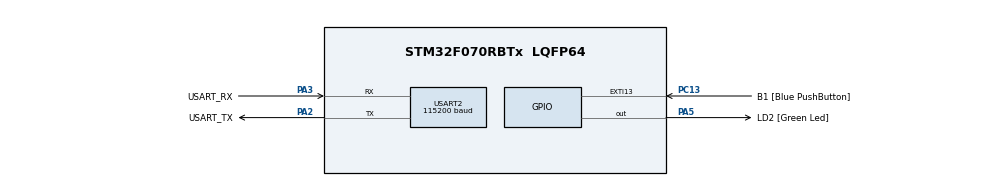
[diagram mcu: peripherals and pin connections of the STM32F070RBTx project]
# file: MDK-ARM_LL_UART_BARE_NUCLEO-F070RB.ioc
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Mcu.Family=STM32F0
Mcu.Name=STM32F070RBTx
Mcu.Package=LQFP64
NVIC.USART2_IRQn=true\:0\:0\:false\:false\:true\:true\:true
PA13.GPIO_Label=TMS
PA13.Mode=Serial_Wire
PA13.Signal=SYS_SWDIO
PA14.GPIO_Label=TCK
PA14.Mode=Serial_Wire
PA14.Signal=SYS_SWCLK
PA2.GPIO_Label=USART_TX
PA2.Mode=Asynchronous
PA2.Signal=USART2_TX
PA3.GPIO_Label=USART_RX
PA3.Mode=Asynchronous
PA3.Signal=USART2_RX
PA5.GPIO_Label=LD2 [Green Led]
PA5.Signal=GPIO_Output
PC13.GPIO_Label=B1 [Blue PushButton]
PC13.GPIO_ModeDefaultEXTI=GPIO_MODE_IT_FALLING
PC13.Signal=GPXTI13
PC14-OSC32_IN.GPIO_Label=RCC_OSC32_IN
PC14-OSC32_IN.Mode=LSE-External-Oscillator
PC14-OSC32_IN.Signal=RCC_OSC32_IN
PC15-OSC32_OUT.GPIO_Label=RCC_OSC32_OUT
PC15-OSC32_OUT.Mode=LSE-External-Oscillator
PC15-OSC32_OUT.Signal=RCC_OSC32_OUT
PF0-OSC_IN.GPIO_Label=RCC_OSC_IN
PF0-OSC_IN.Mode=HSE-External-Clock-Source
PF0-OSC_IN.Signal=RCC_OSC_IN
PF1-OSC_OUT.GPIO_Label=RCC_OSC_OUT
PF1-OSC_OUT.Signal=RCC_OSC_OUT
ProjectManager.HeapSize=0x200
ProjectManager.StackSize=0x400
ProjectManager.TargetToolchain=MDK-ARM V5.27
RCC.AHBFreq_Value=48000000
RCC.APB1Freq_Value=48000000
RCC.APB1TimFreq_Value=48000000
RCC.HCLKFreq_Value=48000000
RCC.PLLMUL=RCC_PLL_MUL6
RCC.SYSCLKFreq_VALUE=48000000
RCC.SYSCLKSource=RCC_SYSCLKSOURCE_PLLCLK
USART2.BaudRate=115200
USART2.VirtualMode-Asynchronous=VM_ASYNC
board=NUCLEO-F070RB

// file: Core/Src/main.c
/* USER CODE BEGIN Header */
/**
  ******************************************************************************
  * @file           : main.c
  * @brief          : Main program body
  ******************************************************************************
  * @attention
  *
  * <h2><center>&copy; Copyright (c) 2020 STMicroelectronics.
  * All rights reserved.</center></h2>
  *
  * This software component is licensed by ST under BSD 3-Clause license,
  * the "License"; You may not use this file except in compliance with the
  * License. You may obtain a copy of the License at:
  *                        opensource.org/licenses/BSD-3-Clause
  *
  ******************************************************************************
  */
/* USER CODE END Header */
#include "main.h"

/* USER CODE BEGIN Includes */
#include "trice.h"
#include "triceBareFifo.h"
#include "triceInterfaceUART.h"
/* USER CODE END Includes */

/* USER CODE BEGIN PV */
int milliSecond = 0;
/* USER CODE END PV */

void SystemClock_Config(void);
static void MX_GPIO_Init(void);
static void MX_USART2_UART_Init(void);

int main(void)
{
  /* USER CODE BEGIN 1 */
#ifdef ENCRYPT
    InitXteaTable();
#endif
  /* USER CODE END 1 */

  /* MCU Configuration--------------------------------------------------------*/

  /* Reset of all peripherals, Initializes the Flash interface and the Systick. */

  LL_APB1_GRP2_EnableClock(LL_APB1_GRP2_PERIPH_SYSCFG);
  LL_APB1_GRP1_EnableClock(LL_APB1_GRP1_PERIPH_PWR);

  /* System interrupt init*/

  /* Configure the system clock */
  SystemClock_Config();

  /* USER CODE BEGIN SysInit */
    SysTick->CTRL |= SysTick_CTRL_TICKINT_Msk; // enable SysTick interrupt
  /* USER CODE END SysInit */

  /* Initialize all configured peripherals */
  MX_GPIO_Init();
  MX_USART2_UART_Init();
  /* USER CODE BEGIN 2 */
    LL_USART_EnableIT_RXNE(TRICE_UART); // enable UART2 interrupt
    TRICE0( Id(54442), "s:                                        \ns:   ARM-MDK_LL_UART_BARE_NUCLEO-F070RB   \ns:                                        \n\n");
  /* USER CODE END 2 */

  /* Infinite loop */
  /* USER CODE BEGIN WHILE */
    while (1)
    {
        static int lastTricesTime = 0;
        { // send some trices every few ms
            if( milliSecond >= lastTricesTime + 100 ){
                static int index = 0;
                TRICE64_2( Id(51601),"MSG: triceBareFifoMaxDepth = %d (index %d)\n", triceBareFifoMaxDepth, index );
                triceCheckSet(index%10);
                index++;
                lastTricesTime = milliSecond;
            }
        }
    /* USER CODE END WHILE */

    /* USER CODE BEGIN 3 */
        { // serve every few ms
            static int lastMs = 0;
            if( milliSecond >= lastMs + 1 ){
                lastMs = milliSecond;
                triceServeBareFifoToBytesBuffer();
            }
        }
    }
  /* USER CODE END 3 */
}

void SystemClock_Config(void)
{
  LL_FLASH_SetLatency(LL_FLASH_LATENCY_1);
  while(LL_FLASH_GetLatency() != LL_FLASH_LATENCY_1)
  {
  }
  LL_RCC_HSI_Enable();

   /* Wait till HSI is ready */
  while(LL_RCC_HSI_IsReady() != 1)
  {

  }
  LL_RCC_HSI_SetCalibTrimming(16);
  LL_RCC_PLL_ConfigDomain_SYS(LL_RCC_PLLSOURCE_HSI, LL_RCC_PLL_MUL_6, LL_RCC_PREDIV_DIV_1);
  LL_RCC_PLL_Enable();

   /* Wait till PLL is ready */
  while(LL_RCC_PLL_IsReady() != 1)
  {

  }
  LL_RCC_SetAHBPrescaler(LL_RCC_SYSCLK_DIV_1);
  LL_RCC_SetAPB1Prescaler(LL_RCC_APB1_DIV_1);
  LL_RCC_SetSysClkSource(LL_RCC_SYS_CLKSOURCE_PLL);

   /* Wait till System clock is ready */
  while(LL_RCC_GetSysClkSource() != LL_RCC_SYS_CLKSOURCE_STATUS_PLL)
  {

  }
  LL_Init1msTick(48000000);
  LL_SetSystemCoreClock(48000000);
}

static void MX_USART2_UART_Init(void)
{

  LL_USART_InitTypeDef USART_InitStruct = {0};

  LL_GPIO_InitTypeDef GPIO_InitStruct = {0};

  /* Peripheral clock enable */
  LL_APB1_GRP1_EnableClock(LL_APB1_GRP1_PERIPH_USART2);

  LL_AHB1_GRP1_EnableClock(LL_AHB1_GRP1_PERIPH_GPIOA);
  /**USART2 GPIO Configuration
  PA2   ------> USART2_TX
  PA3   ------> USART2_RX
  */
  GPIO_InitStruct.Pin = USART_TX_Pin;
  GPIO_InitStruct.Mode = LL_GPIO_MODE_ALTERNATE;
  GPIO_InitStruct.Speed = LL_GPIO_SPEED_FREQ_HIGH;
  GPIO_InitStruct.OutputType = LL_GPIO_OUTPUT_PUSHPULL;
  GPIO_InitStruct.Pull = LL_GPIO_PULL_NO;
  GPIO_InitStruct.Alternate = LL_GPIO_AF_1;
  LL_GPIO_Init(USART_TX_GPIO_Port, &GPIO_InitStruct);

  GPIO_InitStruct.Pin = USART_RX_Pin;
  GPIO_InitStruct.Mode = LL_GPIO_MODE_ALTERNATE;
  GPIO_InitStruct.Speed = LL_GPIO_SPEED_FREQ_HIGH;
  GPIO_InitStruct.OutputType = LL_GPIO_OUTPUT_PUSHPULL;
  GPIO_InitStruct.Pull = LL_GPIO_PULL_NO;
  GPIO_InitStruct.Alternate = LL_GPIO_AF_1;
  LL_GPIO_Init(USART_RX_GPIO_Port, &GPIO_InitStruct);

  /* USART2 interrupt Init */
  NVIC_SetPriority(USART2_IRQn, 0);
  NVIC_EnableIRQ(USART2_IRQn);

  USART_InitStruct.BaudRate = 115200;
  USART_InitStruct.DataWidth = LL_USART_DATAWIDTH_8B;
  USART_InitStruct.StopBits = LL_USART_STOPBITS_1;
  USART_InitStruct.Parity = LL_USART_PARITY_NONE;
  USART_InitStruct.TransferDirection = LL_USART_DIRECTION_TX_RX;
  USART_InitStruct.HardwareFlowControl = LL_USART_HWCONTROL_NONE;
  USART_InitStruct.OverSampling = LL_USART_OVERSAMPLING_16;
  LL_USART_Init(USART2, &USART_InitStruct);
  LL_USART_DisableIT_CTS(USART2);
  LL_USART_ConfigAsyncMode(USART2);
  LL_USART_Enable(USART2);

}

static void MX_GPIO_Init(void)
{
  LL_EXTI_InitTypeDef EXTI_InitStruct = {0};
  LL_GPIO_InitTypeDef GPIO_InitStruct = {0};

  /* GPIO Ports Clock Enable */
  LL_AHB1_GRP1_EnableClock(LL_AHB1_GRP1_PERIPH_GPIOC);
  LL_AHB1_GRP1_EnableClock(LL_AHB1_GRP1_PERIPH_GPIOF);
  LL_AHB1_GRP1_EnableClock(LL_AHB1_GRP1_PERIPH_GPIOA);

  /**/
  LL_GPIO_ResetOutputPin(LD2_GPIO_Port, LD2_Pin);

  /**/
  LL_SYSCFG_SetEXTISource(LL_SYSCFG_EXTI_PORTC, LL_SYSCFG_EXTI_LINE13);

  /**/
  LL_GPIO_SetPinPull(B1_GPIO_Port, B1_Pin, LL_GPIO_PULL_NO);

  /**/
  LL_GPIO_SetPinMode(B1_GPIO_Port, B1_Pin, LL_GPIO_MODE_INPUT);

  /**/
  EXTI_InitStruct.Line_0_31 = LL_EXTI_LINE_13;
  EXTI_InitStruct.LineCommand = ENABLE;
  EXTI_InitStruct.Mode = LL_EXTI_MODE_IT;
  EXTI_InitStruct.Trigger = LL_EXTI_TRIGGER_FALLING;
  LL_EXTI_Init(&EXTI_InitStruct);

  /**/
  GPIO_InitStruct.Pin = LD2_Pin;
  GPIO_InitStruct.Mode = LL_GPIO_MODE_OUTPUT;
  GPIO_InitStruct.Speed = LL_GPIO_SPEED_FREQ_LOW;
  GPIO_InitStruct.OutputType = LL_GPIO_OUTPUT_PUSHPULL;
  GPIO_InitStruct.Pull = LL_GPIO_PULL_NO;
  LL_GPIO_Init(LD2_GPIO_Port, &GPIO_InitStruct);

}

void Error_Handler(void)
{
}

/************************ (C) COPYRIGHT STMicroelectronics *****END OF FILE****/
